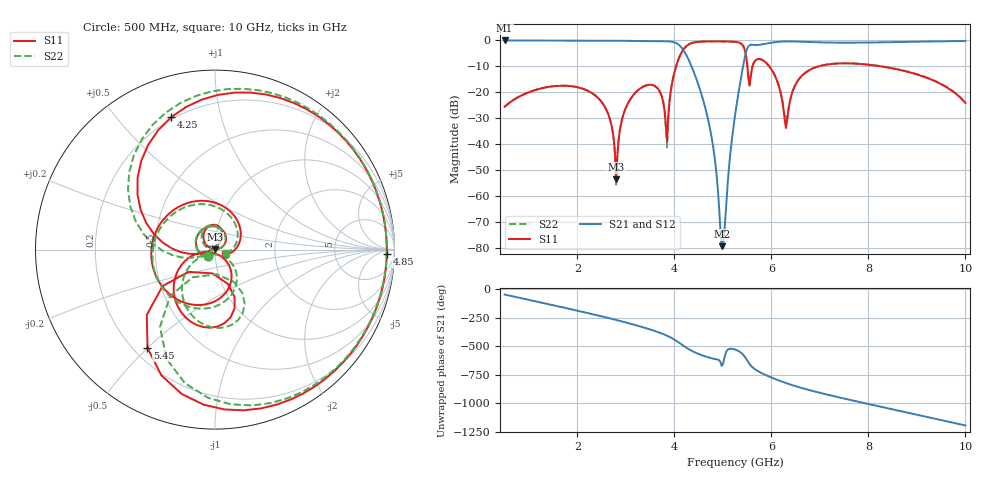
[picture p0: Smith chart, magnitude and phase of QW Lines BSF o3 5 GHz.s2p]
! Sonnet Data File
! From: sonnet Version : 18.53-Lite
! From Emgraph Data:
! Data File Written: 03/31/2024 16:27:45
!< HDATE 03/31/2024 16:20:50
!< MDATE 03/31/2024 16:20:50
!< PARAMS
!< W0 = 1.1
!< L4 = 10.5
!< W1 = 0.1
!< W2 = 0.27
!< END PARAMS
# GHZ S MA R 50.00000
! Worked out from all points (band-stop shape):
!   381 points, 500 MHz to 10 GHz, reference 50 ohm
!   highest |S21| = -0.04 dB at 500 MHz (marker M1); lowest = -79.4 dB at 4.975 GHz (marker M2)
!   |S21| within 3 dB of the highest: start of sweep to 4.158 GHz; 5.505 GHz to end of sweep
!   lowest |S11| = -53.7 dB at 2.8 GHz (marker M3), VSWR 1.00, Z = 50 + j0.203 ohm
!   |S11| at or under -10 dB: start of sweep to 4.036 GHz; 5.956 GHz to 6.98 GHz (1.024 GHz wide, 15.8 % of centre); 8.243 GHz to end of sweep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
!   |S22| runs from -56.3 to -0.4 dB; largest |S21 - S12| = 1.2e-13
!   S11 on the Smith chart (normalised r, x): 500 MHz: 0.93, -0.07; 4.25 GHz: 0.19, +0.71; 4.85 GHz: 35, -20; 5.45 GHz: 0.25, -0.50; 10 GHz: 1.12, -0.06
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0.5  0.05214 -135.8  0.9952 -46.6  0.9952 -46.6  0.05218 -134.3
1.2  0.1148 157.1  0.9859 -111.9  0.9859 -111.9  0.1149 160.1
2.1  0.1175 70.7  0.9798 162.4  0.9798 162.4  0.1175 74.3
2.65  0.03485 17.0  0.9824 106.7  0.9824 106.7  0.03464 16.7
2.8  0.002077 77.8  0.9818 90.7  0.9818 90.7  0.001536 -81.4
3  0.04989 153.0  0.9787 68.5  0.9787 68.5  0.0501 162.8
3.675  0.1119 70.2  0.9617 -17.6  0.9617 -17.6  0.1117 76.5
3.85  0.01141 152.6  0.9589 -47.9  0.9589 -47.9  0.008621 172.0
3.95  0.1446 -170.7  0.9388 -69.3  0.9388 -69.3  0.1447 -161.4
4.25  0.7769 108.3  0.5132 -153.2  0.5132 -153.2  0.7772 116.5
4.85  0.9576 -1.4  0.003845 107.2  0.003845 107.2  0.9573 7.5
4.975  0.9566 -19.0  0.0001067 48.3  0.0001067 48.3  0.9562 -9.9
5.25  0.9357 -63.2  0.03533 -168.3  0.03533 -168.3  0.9358 -53.5
5.45  0.6643 -124.5  0.4613 129.3  0.4613 129.3  0.6663 -113.9
5.55  0.1333 -95.9  0.8068 64.6  0.8068 64.6  0.1378 -86.4
5.725  0.4359 -93.5  0.8158 1.3  0.8158 1.3  0.4363 -82.7
6.3  0.0203 -106.2  0.9527 -102.4  0.9527 -102.4  0.0273 -97.2
6.85  0.2864 -89.5  0.9244 -171.8  0.9244 -171.8  0.286 -76.6
7.675  0.3574 -172.3  0.9021 104.6  0.9021 104.6  0.3591 -156.3
8.425  0.2963 116.4  0.9207 33.8  0.9207 33.8  0.2987 133.1
9.1  0.2053 53.3  0.9451 -29.4  0.9451 -29.4  0.2079 68.2
10  0.06193 -25.2  0.9674 -114.2  0.9674 -114.2  0.0614 -16.2
